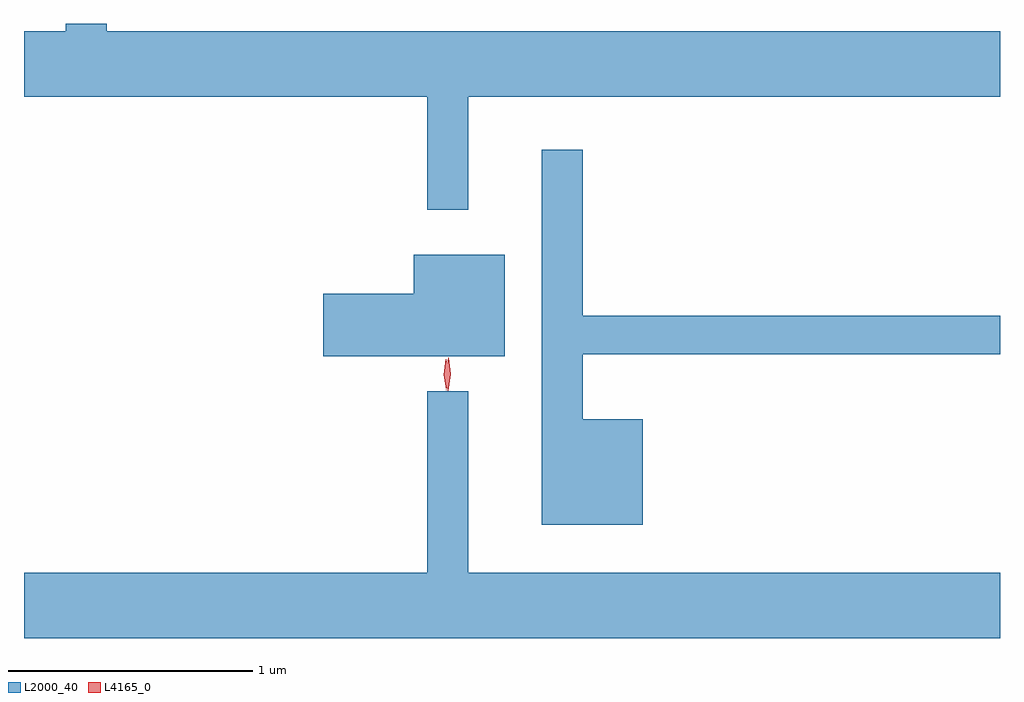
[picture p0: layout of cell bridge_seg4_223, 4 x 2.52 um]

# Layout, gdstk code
import gdstk
lib = gdstk.Library(unit=1e-6, precision=1e-09)
def P(c, l, *ps):  # polygons
    for p in ps: c.add(gdstk.Polygon(p, *l))
L2000_40 = (2000, 40)
L4165_0 = (4165, 0)

bridge_seg4_223 = lib.new_cell('bridge_seg4_223')
P(bridge_seg4_223, L2000_40, [(1103.519,1285.856),(1105.699,1285.856),(1105.699,1286.124),(1102.039,1286.124),(1102.039,1286.155),(1101.871,1286.155),(1101.871,1286.124),(1101.699,1286.124),(1101.699,1285.856),(1103.351,1285.856),(1103.351,1285.393),(1103.519,1285.393)],
  [(1104.234,1284.534),(1103.989,1284.534),(1103.989,1284.801),(1105.699,1284.801),(1105.699,1284.959),(1103.989,1284.959),(1103.989,1285.638),(1103.821,1285.638),(1103.821,1284.101),(1104.234,1284.101)],
  [(1103.669,1285.209),(1103.296,1285.209),(1103.296,1285.049),(1102.926,1285.049),(1102.926,1284.791),(1103.669,1284.791)],
  [(1105.699,1283.904),(1103.519,1283.904),(1103.519,1284.648),(1103.351,1284.648),(1103.351,1283.904),(1101.699,1283.904),(1101.699,1283.636),(1105.699,1283.636)])
P(bridge_seg4_223, L4165_0, [(1103.429,1284.653),(1103.429,1284.654),(1103.419,1284.716),(1103.428,1284.78),(1103.429,1284.78),(1103.429,1284.78),(1103.439,1284.716),(1103.43,1284.654)],
  [(1103.436,1284.65),(1103.428,1284.718),(1103.438,1284.785),(1103.438,1284.786),(1103.439,1284.785),(1103.448,1284.718),(1103.437,1284.65),(1103.437,1284.65)])

lib.write_gds('bridge_seg4_223.gds')
